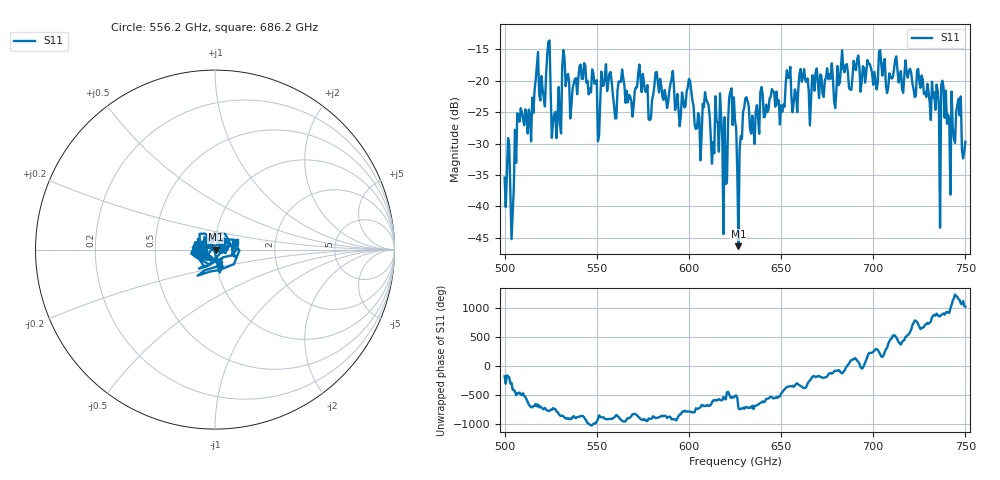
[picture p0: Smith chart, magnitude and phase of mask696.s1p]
!Created with skrf (http://scikit-rf.org).
# GHz S MA R 50.0
!freq magS11 angS11
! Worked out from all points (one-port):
!   401 points, 500 GHz to 750 GHz, reference 50 ohm
!   lowest |S11| = -46.3 dB at 626.9 GHz (marker M1), VSWR 1.01, Z = 50.5 - j0.0871 ohm
!   |S11| at or under -10 dB: start of sweep to end of sweep
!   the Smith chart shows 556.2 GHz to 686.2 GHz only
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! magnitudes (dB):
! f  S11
! 500 GHz  -35.4
! 504.4 GHz  -41.0
! 508.1 GHz  -26.5
! 513.1 GHz  -24.6
! 517.5 GHz  -17.7
! 523.8 GHz  -13.8
! 526.9 GHz  -25.4
! 531.2 GHz  -17.8
! 562.5 GHz  -20.1
! 593.8 GHz  -22.1
! 600 GHz  -19.7
! 605.6 GHz  -25.8
! 609.4 GHz  -23.0
! 612.5 GHz  -33.2
! 616.9 GHz  -22.0
! 619.4 GHz  -25.8
! 622.5 GHz  -21.7
! 625 GHz  -26.4
! 626.9 GHz  -46.3
! 630.6 GHz  -22.8
! 656.2 GHz  -25.0
! 687.5 GHz  -21.4
! 718.8 GHz  -19.5
! 735 GHz  -21.6
! 738.1 GHz  -21.0
! 743.1 GHz  -27.4
! 746.2 GHz  -22.9
! 750 GHz  -29.7
